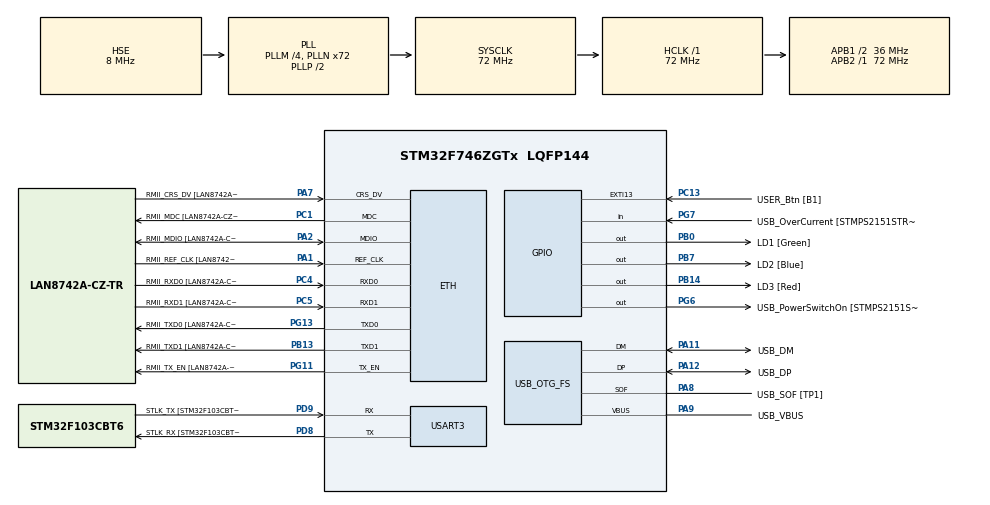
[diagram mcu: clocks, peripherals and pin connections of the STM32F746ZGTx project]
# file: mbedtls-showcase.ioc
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ETH.MediaInterface=ETH_MEDIA_INTERFACE_RMII
ETH.PHY_Name=LAN8742A_PHY_ADDRESS
ETH.PHY_Value=0
ETH.PhyAddress=0
FREERTOS.Tasks01=defaultTask,0,128,StartDefaultTask,Default,NULL
LWIP.Version=v2.0.3_Cube
Mcu.Family=STM32F7
Mcu.Name=STM32F746ZGTx
Mcu.Package=LQFP144
NVIC.ETH_IRQn=true\:5\:0\:false\:false\:true\:true\:false
NVIC.OTG_FS_IRQn=true\:5\:0\:false\:false\:true\:true\:false
NVIC.PriorityGroup=NVIC_PRIORITYGROUP_4
NVIC.TIM7_IRQn=true\:0\:0\:false\:false\:true\:false\:false
NVIC.TimeBase=TIM7_IRQn
NVIC.TimeBaseIP=TIM7
PA1.GPIO_Label=RMII_REF_CLK [LAN8742A-CZ-TR_REFCLK0]
PA1.Mode=RMII
PA1.Signal=ETH_REF_CLK
PA10.GPIO_Label=USB_ID
PA10.Signal=USB_OTG_FS_ID
PA11.GPIO_Label=USB_DM
PA11.Mode=Host_Only
PA11.Signal=USB_OTG_FS_DM
PA12.GPIO_Label=USB_DP
PA12.Mode=Host_Only
PA12.Signal=USB_OTG_FS_DP
PA13.GPIO_Label=TMS
PA13.Mode=Serial_Wire
PA13.Signal=SYS_JTMS-SWDIO
PA14.GPIO_Label=TCK
PA14.Mode=Serial_Wire
PA14.Signal=SYS_JTCK-SWCLK
PA2.GPIO_Label=RMII_MDIO [LAN8742A-CZ-TR_MDIO]
PA2.Mode=RMII
PA2.Signal=ETH_MDIO
PA7.GPIO_Label=RMII_CRS_DV [LAN8742A-CZ-TR_CRS_DV]
PA7.Mode=RMII
PA7.Signal=ETH_CRS_DV
PA8.GPIO_Label=USB_SOF [TP1]
PA8.Mode=Activate_SOF_FS
PA8.Signal=USB_OTG_FS_SOF
PA9.GPIO_Label=USB_VBUS
PA9.Mode=Activate_VBUS
PA9.Signal=USB_OTG_FS_VBUS
PB0.GPIO_Label=LD1 [Green]
PB0.Signal=GPIO_Output
PB13.GPIO_Label=RMII_TXD1 [LAN8742A-CZ-TR_TXD1]
PB13.Mode=RMII
PB13.Signal=ETH_TXD1
PB14.GPIO_Label=LD3 [Red]
PB14.Signal=GPIO_Output
PB3.GPIO_Label=SW0
PB3.Signal=SYS_JTDO-SWO
PB7.GPIO_Label=LD2 [Blue]
PB7.Signal=GPIO_Output
PC1.GPIO_Label=RMII_MDC [LAN8742A-CZ-TR_MDC]
PC1.Mode=RMII
PC1.Signal=ETH_MDC
PC13.GPIO_Label=USER_Btn [B1]
PC13.Signal=GPXTI13
PC14/OSC32_IN.Mode=LSE-External-Oscillator
PC14/OSC32_IN.Signal=RCC_OSC32_IN
PC15/OSC32_OUT.Mode=LSE-External-Oscillator
PC15/OSC32_OUT.Signal=RCC_OSC32_OUT
PC4.GPIO_Label=RMII_RXD0 [LAN8742A-CZ-TR_RXD0]
PC4.Mode=RMII
PC4.Signal=ETH_RXD0
PC5.GPIO_Label=RMII_RXD1 [LAN8742A-CZ-TR_RXD1]
PC5.Mode=RMII
PC5.Signal=ETH_RXD1
PD8.GPIO_Label=STLK_RX [STM32F103CBT6_PA3]
PD8.Mode=Asynchronous
PD8.Signal=USART3_TX
PD9.GPIO_Label=STLK_TX [STM32F103CBT6_PA2]
PD9.Mode=Asynchronous
PD9.Signal=USART3_RX
PG11.GPIO_Label=RMII_TX_EN [LAN8742A-CZ-TR_TXEN]
PG11.Mode=RMII
PG11.Signal=ETH_TX_EN
PG13.GPIO_Label=RMII_TXD0 [LAN8742A-CZ-TR_TXD0]
PG13.Mode=RMII
PG13.Signal=ETH_TXD0
PG6.GPIO_Label=USB_PowerSwitchOn [STMPS2151STR_EN]
PG6.Signal=GPIO_Output
PG7.GPIO_Label=USB_OverCurrent [STMPS2151STR_FAULT]
PG7.Signal=GPIO_Input
PH0/OSC_IN.GPIO_Label=MCO [STM32F103CBT6_PA8]
PH0/OSC_IN.Mode=HSE-External-Clock-Source
PH0/OSC_IN.Signal=RCC_OSC_IN
PH1/OSC_OUT.Mode=HSE-External-Clock-Source
PH1/OSC_OUT.Signal=RCC_OSC_OUT
ProjectManager.HeapSize=0x200
ProjectManager.StackSize=0x400
ProjectManager.TargetToolchain=Makefile
RCC.48MHZClocksFreq_Value=24000000
RCC.AHBFreq_Value=72000000
RCC.APB1CLKDivider=RCC_HCLK_DIV2
RCC.APB1Freq_Value=36000000
RCC.APB1TimFreq_Value=72000000
RCC.APB2Freq_Value=72000000
RCC.APB2TimFreq_Value=72000000
RCC.CortexFreq_Value=72000000
RCC.HCLKFreq_Value=72000000
RCC.HSE_VALUE=8000000
RCC.HSI_VALUE=16000000
RCC.PLLM=4
RCC.PLLMUL=RCC_PLL_MUL9
RCC.PLLN=72
RCC.PLLQ=3
RCC.PRESCALERUSB=RCC_USBCLKSOURCE_PLL_DIV1_5
RCC.SYSCLKFreq_VALUE=72000000
RCC.SYSCLKSource=RCC_SYSCLKSOURCE_PLLCLK
RCC.SYSCLKSourceVirtual=RCC_SYSCLKSOURCE_PLLCLK
RCC.USBFreq_Value=48000000
RCC.VCOOutputFreq_Value=144000000
USART3.VirtualMode-Asynchronous=VM_ASYNC
USB_HOST.USBH_HandleTypeDef-MSC_FS=hUsbHostFS
USB_HOST.VirtualModeFS=Msc
USB_OTG_FS.VirtualMode=Host_Only
USB_OTG_FS.phy_itface=HCD_PHY_EMBEDDED
VP_FREERTOS_VS_ENABLE.Mode=Enabled
VP_LWIP_VS_Enabled.Mode=Enabled
VP_MBEDTLS_VS_MBEDTLS.Mode=Enabled
VP_RNG_VS_RNG.Mode=RNG_Activate
VP_SYS_VS_tim7.Mode=TIM7
VP_USB_HOST_VS_USB_HOST_MSC_FS.Mode=MSC_FS
board=NUCLEO-F746ZG

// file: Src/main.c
/**
 ******************************************************************************
 * @file           : main.c
 * @brief          : Main program body
 ******************************************************************************
 * This notice applies to any and all portions of this file
 * that are not between comment pairs USER CODE BEGIN and
 * USER CODE END. Other portions of this file, whether
 * inserted by the user or by software development tools
 * are owned by their respective copyright owners.
 *
 * Copyright (c) 2018 STMicroelectronics International N.V.
 * All rights reserved.
 *
 * Redistribution and use in source and binary forms, with or without
 * modification, are permitted, provided that the following conditions are met:
 *
 * 1. Redistribution of source code must retain the above copyright notice,
 *    this list of conditions and the following disclaimer.
 * 2. Redistributions in binary form must reproduce the above copyright notice,
 *    this list of conditions and the following disclaimer in the documentation
 *    and/or other materials provided with the distribution.
 * 3. Neither the name of STMicroelectronics nor the names of other
 *    contributors to this software may be used to endorse or promote products
 *    derived from this software without specific written permission.
 * 4. This software, including modifications and/or derivative works of this
 *    software, must execute solely and exclusively on microcontroller or
 *    microprocessor devices manufactured by or for STMicroelectronics.
 * 5. Redistribution and use of this software other than as permitted under
 *    this license is void and will automatically terminate your rights under
 *    this license.
 *
 * THIS SOFTWARE IS PROVIDED BY STMICROELECTRONICS AND CONTRIBUTORS "AS IS"
 * AND ANY EXPRESS, IMPLIED OR STATUTORY WARRANTIES, INCLUDING, BUT NOT
 * LIMITED TO, THE IMPLIED WARRANTIES OF MERCHANTABILITY, FITNESS FOR A
 * PARTICULAR PURPOSE AND NON-INFRINGEMENT OF THIRD PARTY INTELLECTUAL PROPERTY
 * RIGHTS ARE DISCLAIMED TO THE FULLEST EXTENT PERMITTED BY LAW. IN NO EVENT
 * SHALL STMICROELECTRONICS OR CONTRIBUTORS BE LIABLE FOR ANY DIRECT, INDIRECT,
 * INCIDENTAL, SPECIAL, EXEMPLARY, OR CONSEQUENTIAL DAMAGES (INCLUDING, BUT NOT
 * LIMITED TO, PROCUREMENT OF SUBSTITUTE GOODS OR SERVICES; LOSS OF USE, DATA,
 * OR PROFITS; OR BUSINESS INTERRUPTION) HOWEVER CAUSED AND ON ANY THEORY OF
 * LIABILITY, WHETHER IN CONTRACT, STRICT LIABILITY, OR TORT (INCLUDING
 * NEGLIGENCE OR OTHERWISE) ARISING IN ANY WAY OUT OF THE USE OF THIS SOFTWARE,
 * EVEN IF ADVISED OF THE POSSIBILITY OF SUCH DAMAGE.
 *
 ******************************************************************************
 */
#include "main.h"
#include "cmsis_os.h"
#include "mbedtls.h"
#include "stm32f7xx_hal.h"
#include "usb_host.h"

/* USER CODE BEGIN Includes */

#include "ansi.h"
#include "dbgu.h"
#include "term_io.h"

/* USER CODE END Includes */

RNG_HandleTypeDef hrng;

UART_HandleTypeDef huart3;

osThreadId defaultTaskHandle;

/* USER CODE BEGIN PV */
/* Private variables ---------------------------------------------------------*/

/* USER CODE END PV */

void SystemClock_Config(void);

static void MX_GPIO_Init(void);

static void MX_USART3_UART_Init(void);

static void MX_RNG_Init(void);

void StartDefaultTask(void const *argument);

/* USER CODE BEGIN PFP */
/* Private function prototypes -----------------------------------------------*/

/* USER CODE END PFP */

/* USER CODE BEGIN 0 */
#define PRINTF_USES_HAL_TX 0

int __io_putchar(int ch) {
  uint8_t data = ch;
#if PRINTF_USES_HAL_TX
  HAL_StatusTypeDef status = HAL_UART_Transmit(&huart3, (uint8_t *)&data, len, 100);
#else
  while (__HAL_UART_GET_FLAG(&huart3, UART_FLAG_TXE) == RESET) { ;
  }
  huart3.Instance->TDR = (uint16_t) data;
#endif
  return 0;
}

/* USER CODE END 0 */

int main(void) {

  /* MCU
   * Configuration----------------------------------------------------------*/

  /* Reset of all peripherals, Initializes the Flash interface and the Systick.
   */
  HAL_Init();

  /* Configure the system clock */
  SystemClock_Config();

  /* Initialize all configured peripherals */
  MX_GPIO_Init();
  MX_USART3_UART_Init();
  MX_RNG_Init();
  /* USER CODE BEGIN 2 */

  /* USER CODE BEGIN 2 */

  /* USER CODE BEGIN 2 */
  debug_init(&huart3);
  /* USER CODE END 2 */

  /* Create the thread(s) */
  /* definition and creation of defaultTask */

  xprintf("Starting HTTPS server task\n");

  osThreadDef(defaultTask, StartDefaultTask, osPriorityNormal, 0, 1024);
  defaultTaskHandle = osThreadCreate(osThread(defaultTask), NULL);

  /* Start scheduler */
  osKernelStart();

  /* We should never get here as control is now taken by the scheduler */

  /* Infinite loop */
  while (1) {

  }
}

void SystemClock_Config(void) {

  RCC_OscInitTypeDef RCC_OscInitStruct;
  RCC_ClkInitTypeDef RCC_ClkInitStruct;
  RCC_PeriphCLKInitTypeDef PeriphClkInitStruct;

  /**Configure the main internal regulator output voltage
   */
  __HAL_RCC_PWR_CLK_ENABLE();

  __HAL_PWR_VOLTAGESCALING_CONFIG(PWR_REGULATOR_VOLTAGE_SCALE3);

  /**Initializes the CPU, AHB and APB busses clocks
   */
  RCC_OscInitStruct.OscillatorType = RCC_OSCILLATORTYPE_HSE;
  RCC_OscInitStruct.HSEState = RCC_HSE_BYPASS;
  RCC_OscInitStruct.PLL.PLLState = RCC_PLL_ON;
  RCC_OscInitStruct.PLL.PLLSource = RCC_PLLSOURCE_HSE;
  RCC_OscInitStruct.PLL.PLLM = 4;
  RCC_OscInitStruct.PLL.PLLN = 72;
  RCC_OscInitStruct.PLL.PLLP = RCC_PLLP_DIV2;
  RCC_OscInitStruct.PLL.PLLQ = 3;
  if (HAL_RCC_OscConfig(&RCC_OscInitStruct) != HAL_OK) {
    _Error_Handler(__FILE__, __LINE__);
  }

  /**Initializes the CPU, AHB and APB busses clocks
   */
  RCC_ClkInitStruct.ClockType = RCC_CLOCKTYPE_HCLK | RCC_CLOCKTYPE_SYSCLK |
                                RCC_CLOCKTYPE_PCLK1 | RCC_CLOCKTYPE_PCLK2;
  RCC_ClkInitStruct.SYSCLKSource = RCC_SYSCLKSOURCE_PLLCLK;
  RCC_ClkInitStruct.AHBCLKDivider = RCC_SYSCLK_DIV1;
  RCC_ClkInitStruct.APB1CLKDivider = RCC_HCLK_DIV2;
  RCC_ClkInitStruct.APB2CLKDivider = RCC_HCLK_DIV1;

  if (HAL_RCC_ClockConfig(&RCC_ClkInitStruct, FLASH_LATENCY_2) != HAL_OK) {
    _Error_Handler(__FILE__, __LINE__);
  }

  PeriphClkInitStruct.PeriphClockSelection =
          RCC_PERIPHCLK_USART3 | RCC_PERIPHCLK_CLK48;
  PeriphClkInitStruct.Usart3ClockSelection = RCC_USART3CLKSOURCE_PCLK1;
  PeriphClkInitStruct.Clk48ClockSelection = RCC_CLK48SOURCE_PLL;
  if (HAL_RCCEx_PeriphCLKConfig(&PeriphClkInitStruct) != HAL_OK) {
    _Error_Handler(__FILE__, __LINE__);
  }

  /**Configure the Systick interrupt time
   */
  HAL_SYSTICK_Config(HAL_RCC_GetHCLKFreq() / 1000);

  /**Configure the Systick
   */
  HAL_SYSTICK_CLKSourceConfig(SYSTICK_CLKSOURCE_HCLK);

  /* SysTick_IRQn interrupt configuration */
  HAL_NVIC_SetPriority(SysTick_IRQn, 15, 0);
}

/* RNG init function */
static void MX_RNG_Init(void) {

  hrng.Instance = RNG;
  if (HAL_RNG_Init(&hrng) != HAL_OK) {
    _Error_Handler(__FILE__, __LINE__);
  }
}

/* USART3 init function */
static void MX_USART3_UART_Init(void) {

  huart3.Instance = USART3;
  huart3.Init.BaudRate = 115200;
  huart3.Init.WordLength = UART_WORDLENGTH_8B;
  huart3.Init.StopBits = UART_STOPBITS_1;
  huart3.Init.Parity = UART_PARITY_NONE;
  huart3.Init.Mode = UART_MODE_TX_RX;
  huart3.Init.HwFlowCtl = UART_HWCONTROL_NONE;
  huart3.Init.OverSampling = UART_OVERSAMPLING_16;
  huart3.Init.OneBitSampling = UART_ONE_BIT_SAMPLE_DISABLE;
  huart3.AdvancedInit.AdvFeatureInit = UART_ADVFEATURE_NO_INIT;
  if (HAL_UART_Init(&huart3) != HAL_OK) {
    _Error_Handler(__FILE__, __LINE__);
  }
}

/** Configure pins as
 * Analog
 * Input
 * Output
 * EVENT_OUT
 * EXTI
 */
static void MX_GPIO_Init(void) {

  GPIO_InitTypeDef GPIO_InitStruct;

  /* GPIO Ports Clock Enable */
  __HAL_RCC_GPIOC_CLK_ENABLE();
  __HAL_RCC_GPIOH_CLK_ENABLE();
  __HAL_RCC_GPIOA_CLK_ENABLE();
  __HAL_RCC_GPIOB_CLK_ENABLE();
  __HAL_RCC_GPIOD_CLK_ENABLE();
  __HAL_RCC_GPIOG_CLK_ENABLE();

  /*Configure GPIO pin Output Level */
  HAL_GPIO_WritePin(GPIOB, LD1_Pin | LD3_Pin | LD2_Pin, GPIO_PIN_RESET);

  /*Configure GPIO pin Output Level */
  HAL_GPIO_WritePin(USB_PowerSwitchOn_GPIO_Port, USB_PowerSwitchOn_Pin,
                    GPIO_PIN_RESET);

  /*Configure GPIO pin : USER_Btn_Pin */
  GPIO_InitStruct.Pin = USER_Btn_Pin;
  GPIO_InitStruct.Mode = GPIO_MODE_IT_RISING;
  GPIO_InitStruct.Pull = GPIO_NOPULL;
  HAL_GPIO_Init(USER_Btn_GPIO_Port, &GPIO_InitStruct);

  /*Configure GPIO pins : LD1_Pin LD3_Pin LD2_Pin */
  GPIO_InitStruct.Pin = LD1_Pin | LD3_Pin | LD2_Pin;
  GPIO_InitStruct.Mode = GPIO_MODE_OUTPUT_PP;
  GPIO_InitStruct.Pull = GPIO_NOPULL;
  GPIO_InitStruct.Speed = GPIO_SPEED_FREQ_LOW;
  HAL_GPIO_Init(GPIOB, &GPIO_InitStruct);

  /*Configure GPIO pin : USB_PowerSwitchOn_Pin */
  GPIO_InitStruct.Pin = USB_PowerSwitchOn_Pin;
  GPIO_InitStruct.Mode = GPIO_MODE_OUTPUT_PP;
  GPIO_InitStruct.Pull = GPIO_NOPULL;
  GPIO_InitStruct.Speed = GPIO_SPEED_FREQ_LOW;
  HAL_GPIO_Init(USB_PowerSwitchOn_GPIO_Port, &GPIO_InitStruct);

  /*Configure GPIO pin : USB_OverCurrent_Pin */
  GPIO_InitStruct.Pin = USB_OverCurrent_Pin;
  GPIO_InitStruct.Mode = GPIO_MODE_INPUT;
  GPIO_InitStruct.Pull = GPIO_NOPULL;
  HAL_GPIO_Init(USB_OverCurrent_GPIO_Port, &GPIO_InitStruct);
}

void StartDefaultTask(void const *argument) {
  /* Up to user define the empty MX_MBEDTLS_Init() function located in mbedtls.c
   * file */
  MX_MBEDTLS_Init();

  /* MX_LWIP_Init() is generated within mbedtls_net_init() function in
   * net_cockets.c file */
  /* Up to user to call mbedtls_net_init() function in MBEDTLS initialization
   * step */

  /* init code for USB_HOST */
  MX_USB_HOST_Init();

  /* USER CODE BEGIN 5 */
  int ret = 0;

  /* Infinite loop */
  for (;;) {
    if((ret = single_connection()) != 0) {
      xprintf("Error! Server loop function returned %d\n\n", ret);
    }
  }
  /* USER CODE END 5 */
}

void HAL_TIM_PeriodElapsedCallback(TIM_HandleTypeDef *htim) {
  if (htim->Instance == TIM7) {
    HAL_IncTick();
  }
}

void _Error_Handler(char *file, int line) {
  while (1) {
  }
}

#ifdef USE_FULL_ASSERT
/**
 * @brief  Reports the name of the source file and the source line number
 *         where the assert_param error has occurred.
 * @param  file: pointer to the source file name
 * @param  line: assert_param error line source number
 * @retval None
 */
void assert_failed(uint8_t *file, uint32_t line) {
  /* USER CODE BEGIN 6 */
  /* User can add his own implementation to report the file name and line
     number,
     tex: printf("Wrong parameters value: file %s on line %d\r\n", file, line)
   */
  /* USER CODE END 6 */
}
#endif /* USE_FULL_ASSERT */

/************************ (C) COPYRIGHT STMicroelectronics *****END OF FILE****/
